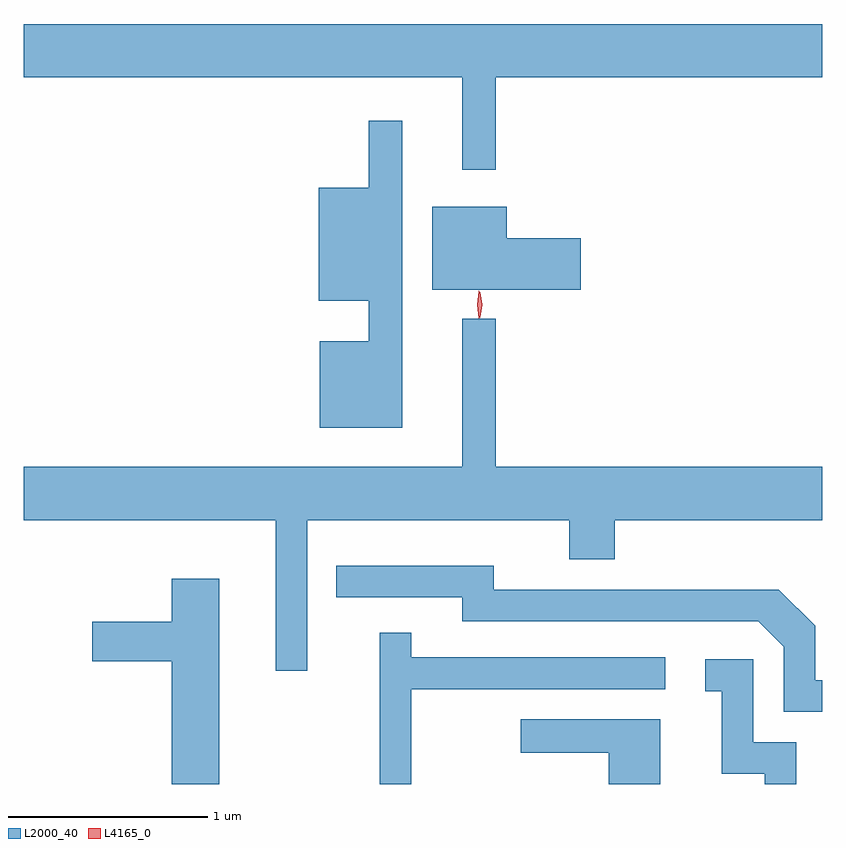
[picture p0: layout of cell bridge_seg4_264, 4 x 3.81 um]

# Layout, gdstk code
import gdstk
lib = gdstk.Library(unit=1e-6, precision=1e-09)
def P(c, l, *ps):  # polygons
    for p in ps: c.add(gdstk.Polygon(p, *l))
L2000_40 = (2000, 40)
L4165_0 = (4165, 0)

bridge_seg4_264 = lib.new_cell('bridge_seg4_264')
P(bridge_seg4_264, L2000_40, [(761.929,1356.896),(763.564,1356.896),(763.564,1357.164),(759.564,1357.164),(759.564,1356.896),(761.761,1356.896),(761.761,1356.433),(761.929,1356.433)],
  [(761.459,1356.678),(761.291,1356.678),(761.291,1356.344),(761.041,1356.344),(761.041,1355.776),(761.291,1355.776),(761.291,1355.574),(761.046,1355.574),(761.046,1355.141),(761.459,1355.141)],
  [(762.354,1356.089),(761.984,1356.089),(761.984,1356.249),(761.611,1356.249),(761.611,1355.831),(762.354,1355.831)],
  [(760.984,1354.676),(762.296,1354.676),(762.296,1354.481),(762.524,1354.481),(762.524,1354.676),(763.564,1354.676),(763.564,1354.944),(761.929,1354.944),(761.929,1355.688),(761.761,1355.688),(761.761,1354.944),(759.564,1354.944),(759.564,1354.676),(760.826,1354.676),(760.826,1353.923),(760.984,1353.923)],
  [(763.564,1353.874),(763.529,1353.874),(763.529,1354.147),(763.347,1354.329),(761.919,1354.329),(761.919,1354.449),(761.128,1354.449),(761.128,1354.291),(761.761,1354.291),(761.761,1354.171),(763.244,1354.171),(763.371,1354.044),(763.371,1353.716),(763.564,1353.716)],
  [(760.544,1354.384),(760.306,1354.384),(760.306,1354.169),(759.906,1354.169),(759.906,1353.971),(760.306,1353.971),(760.306,1353.355),(760.544,1353.355)],
  [(761.504,1353.831),(762.778,1353.831),(762.778,1353.989),(761.504,1353.989),(761.504,1354.113),(761.346,1354.113),(761.346,1353.355),(761.504,1353.355)],
  [(763.434,1353.564),(763.219,1353.564),(763.219,1353.979),(762.978,1353.979),(762.978,1353.821),(763.061,1353.821),(763.061,1353.406),(763.276,1353.406),(763.276,1353.355),(763.434,1353.355)],
  [(762.754,1353.679),(762.053,1353.679),(762.053,1353.511),(762.496,1353.511),(762.496,1353.355),(762.754,1353.355)])
P(bridge_seg4_264, L4165_0, [(761.85,1355.693),(761.849,1355.694),(761.84,1355.756),(761.849,1355.82),(761.85,1355.82),(761.85,1355.82),(761.86,1355.756),(761.85,1355.694)],
  [(761.844,1355.69),(761.835,1355.758),(761.844,1355.825),(761.844,1355.826),(761.845,1355.825),(761.854,1355.758),(761.845,1355.69),(761.845,1355.69)])

lib.write_gds('bridge_seg4_264.gds')
